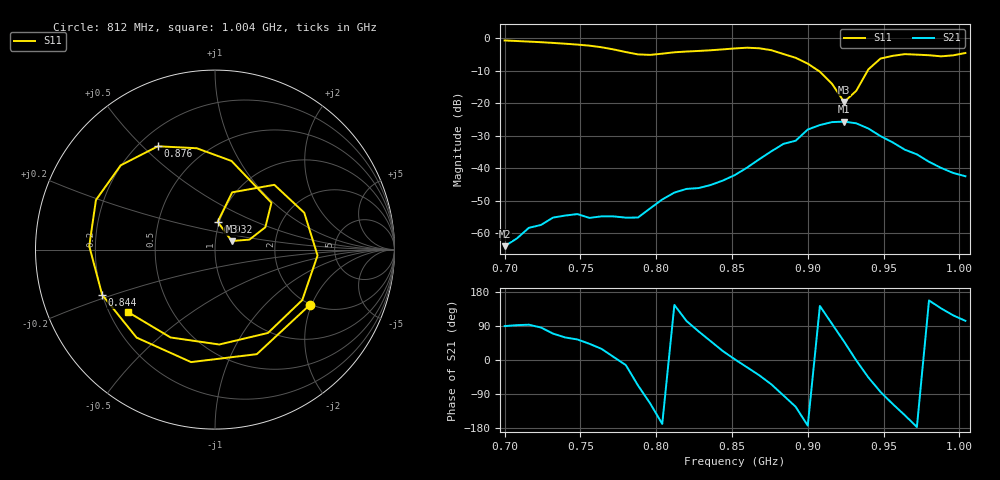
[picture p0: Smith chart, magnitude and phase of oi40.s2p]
# Hz S RI R 50
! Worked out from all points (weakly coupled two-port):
!   39 points, 700 MHz to 1.004 GHz, reference 50 ohm
!   highest |S21| = -25.65 dB at 924 MHz (marker M1); lowest = -64.1 dB at 700 MHz (marker M2)
!   lowest |S11| = -19.6 dB at 924 MHz (marker M3), VSWR 1.23, Z = 60 + j5.81 ohm
!   |S11| at or under -10 dB: 907.2 MHz to 939.5 MHz (32.29 MHz wide, 3.5 % of centre)
!   S12 and S22 are empty: the file has one direction only
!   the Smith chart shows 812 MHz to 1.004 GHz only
!   S11 on the Smith chart (normalised r, x): 812 MHz: 1.96, -1.94; 844 MHz: 0.20, -0.19; 876 MHz: 0.27, +0.56; 932 MHz: 0.98, +0.31; 1.004 GHz: 0.28, -0.30
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7e8  0.7629 0.5312  6.13e-06 0.000627  0 0  0 0
7.24e8  0.8346 -0.2593  9.99e-05 0.00133  0 0  0 0
7.4e8  0.4451 -0.6979  0.000944 0.0016  0 0  0 0
7.56e8  -0.1962 -0.7474  0.00126 0.00116  0 0  0 0
7.72e8  -0.6493 -0.1862  0.00179 0.000243  0 0  0 0
7.8e8  -0.5697 0.2337  0.00168 -0.000404  0 0  0 0
7.88e8  -0.2123 0.5256  0.000675 -0.0016  0 0  0 0
7.96e8  0.2658 0.4897  -0.000992 -0.00218  0 0  0 0
8.04e8  0.5673 0.1286  -0.00322 -0.000649  0 0  0 0
8.12e8  0.5268 -0.3094  -0.00345 0.00239  0 0  0 0
8.28e8  -0.1333 -0.6267  0.00124 0.00477  0 0  0 0
8.44e8  -0.6287 -0.2518  0.0059 0.00257  0 0  0 0
8.52e8  -0.7007 0.0195  0.00785 0.000202  0 0  0 0
8.76e8  -0.3181 0.5758  0.00789 -0.0164  0 0  0 0
9e8  0.3145 0.2608  -0.0391 -0.00468  0 0  0 0
9.08e8  0.2805 0.1245  -0.0367 0.0281  0 0  0 0
9.24e8  0.0931 0.0479  0.0347 0.039  0 0  0 0
9.32e8  0.0151 0.1549  0.0491 -0.000976  0 0  0 0
9.48e8  0.3307 0.361  0.00313 -0.031  0 0  0 0
9.56e8  0.4973 0.2055  -0.0109 -0.0225  0 0  0 0
9.8e8  0.295 -0.4645  -0.0115 0.00487  0 0  0 0
1.004e9  -0.4819 -0.3496  -0.00174 0.00729  0 0  0 0
